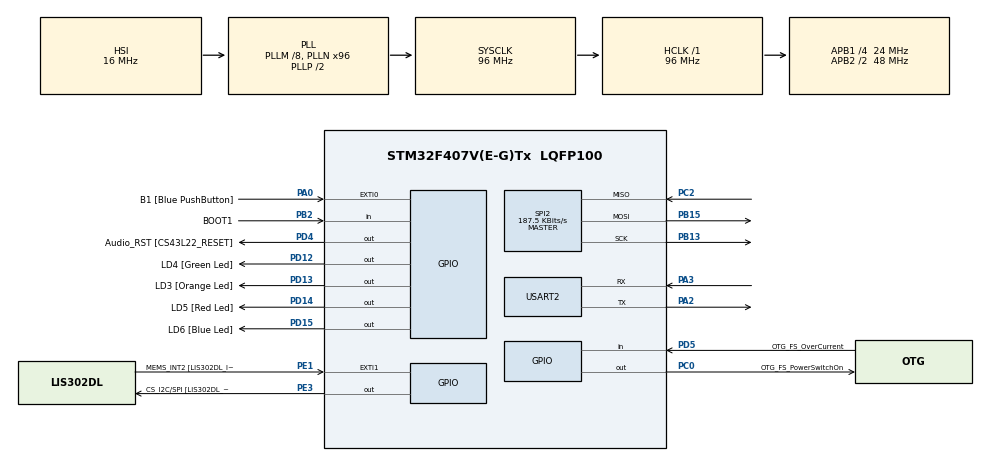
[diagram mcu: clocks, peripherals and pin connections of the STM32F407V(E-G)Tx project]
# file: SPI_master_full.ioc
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Mcu.Family=STM32F4
Mcu.Name=STM32F407V(E-G)Tx
Mcu.Package=LQFP100
NVIC.EXTI0_IRQn=true\:0\:0\:false\:false\:true\:true\:true\:true
NVIC.PriorityGroup=NVIC_PRIORITYGROUP_0
NVIC.SPI2_IRQn=true\:0\:0\:false\:false\:true\:true\:true\:true
PA0-WKUP.GPIO_Label=B1 [Blue PushButton]
PA0-WKUP.Signal=GPXTI0
PA10.GPIO_Label=OTG_FS_ID
PA10.GPIO_Mode=GPIO_MODE_AF_PP
PA10.GPIO_PuPd=GPIO_NOPULL
PA10.GPIO_Speed=GPIO_SPEED_FREQ_LOW
PA10.Signal=USB_OTG_FS_ID
PA11.GPIO_Label=OTG_FS_DM
PA11.GPIO_Mode=GPIO_MODE_AF_PP
PA11.GPIO_PuPd=GPIO_NOPULL
PA11.GPIO_Speed=GPIO_SPEED_FREQ_LOW
PA11.Signal=USB_OTG_FS_DM
PA12.GPIO_Label=OTG_FS_DP
PA12.GPIO_Mode=GPIO_MODE_AF_PP
PA12.GPIO_PuPd=GPIO_NOPULL
PA12.GPIO_Speed=GPIO_SPEED_FREQ_LOW
PA12.Signal=USB_OTG_FS_DP
PA13.GPIO_Label=SWDIO
PA13.Signal=SYS_JTMS-SWDIO
PA14.GPIO_Label=SWCLK
PA14.Signal=SYS_JTCK-SWCLK
PA2.Mode=Asynchronous
PA2.Signal=USART2_TX
PA3.Mode=Asynchronous
PA3.Signal=USART2_RX
PA4.GPIO_Label=I2S3_WS [CS43L22_LRCK]
PA4.GPIO_Mode=GPIO_MODE_AF_PP
PA4.GPIO_PuPd=GPIO_NOPULL
PA4.GPIO_Speed=GPIO_SPEED_FREQ_LOW
PA4.Signal=I2S3_WS
PA5.GPIO_Label=SPI1_SCK [LIS302DL_SCL/SPC]
PA5.GPIO_Mode=GPIO_MODE_AF_PP
PA5.GPIO_PuPd=GPIO_NOPULL
PA5.GPIO_Speed=GPIO_SPEED_FREQ_LOW
PA5.Signal=SPI1_SCK
PA6.GPIO_Label=SPI1_MISO [LIS302DL_SDO]
PA6.GPIO_Mode=GPIO_MODE_AF_PP
PA6.GPIO_PuPd=GPIO_NOPULL
PA6.GPIO_Speed=GPIO_SPEED_FREQ_LOW
PA6.Signal=SPI1_MISO
PA7.GPIO_Label=SPI1_MOSI [LIS302DL_SDA/SDI/SDO]
PA7.GPIO_Mode=GPIO_MODE_AF_PP
PA7.GPIO_PuPd=GPIO_NOPULL
PA7.GPIO_Speed=GPIO_SPEED_FREQ_LOW
PA7.Signal=SPI1_MOSI
PA9.GPIO_Label=VBUS_FS
PA9.GPIO_Mode=GPIO_MODE_INPUT
PA9.GPIO_PuPd=GPIO_NOPULL
PA9.Signal=USB_OTG_FS_VBUS
PB10.GPIO_Label=CLK_IN [MP45DT02_CLK]
PB10.GPIO_Mode=GPIO_MODE_AF_PP
PB10.GPIO_PuPd=GPIO_NOPULL
PB10.GPIO_Speed=GPIO_SPEED_FREQ_LOW
PB10.Signal=I2S2_CK
PB13.Mode=Full_Duplex_Master
PB13.Signal=SPI2_SCK
PB15.Mode=Full_Duplex_Master
PB15.Signal=SPI2_MOSI
PB2.GPIO_Label=BOOT1
PB2.GPIO_Mode=GPIO_MODE_INPUT
PB2.GPIO_PuPd=GPIO_NOPULL
PB2.Signal=GPIO_Input
PB3.GPIO_Label=SWO
PB3.Signal=SYS_JTDO-SWO
PB6.GPIO_Label=Audio_SCL [CS43L22_SCL]
PB6.GPIO_Mode=GPIO_MODE_AF_OD
PB6.GPIO_PuPd=GPIO_NOPULL
PB6.GPIO_Speed=GPIO_SPEED_FREQ_LOW
PB6.Signal=I2C1_SCL
PB9.GPIO_Label=Audio_SDA [CS43L22_SDA]
PB9.GPIO_Mode=GPIO_MODE_AF_OD
PB9.GPIO_PuPd=GPIO_NOPULL
PB9.GPIO_Speed=GPIO_SPEED_FREQ_LOW
PB9.Signal=I2C1_SDA
PC0.GPIO_Label=OTG_FS_PowerSwitchOn
PC0.GPIO_PuPd=GPIO_NOPULL
PC0.GPIO_Speed=GPIO_SPEED_FREQ_LOW
PC0.PinState=GPIO_PIN_SET
PC0.Signal=GPIO_Output
PC10.GPIO_Label=I2S3_SCK [CS43L22_SCLK]
PC10.GPIO_Mode=GPIO_MODE_AF_PP
PC10.GPIO_PuPd=GPIO_NOPULL
PC10.GPIO_Speed=GPIO_SPEED_FREQ_LOW
PC10.Signal=I2S3_CK
PC12.GPIO_Label=I2S3_SD [CS43L22_SDIN]
PC12.GPIO_Mode=GPIO_MODE_AF_PP
PC12.GPIO_PuPd=GPIO_NOPULL
PC12.GPIO_Speed=GPIO_SPEED_FREQ_LOW
PC12.Signal=I2S3_SD
PC14-OSC32_IN.GPIO_Label=PC14-OSC32_IN
PC14-OSC32_IN.Signal=RCC_OSC32_IN
PC15-OSC32_OUT.GPIO_Label=PC15-OSC32_OUT
PC15-OSC32_OUT.Signal=RCC_OSC32_OUT
PC2.Mode=Full_Duplex_Master
PC2.Signal=SPI2_MISO
PC3.GPIO_Label=PDM_OUT [MP45DT02_DOUT]
PC3.GPIO_Mode=GPIO_MODE_AF_PP
PC3.GPIO_PuPd=GPIO_NOPULL
PC3.GPIO_Speed=GPIO_SPEED_FREQ_LOW
PC3.Signal=I2S2_SD
PC7.GPIO_Label=I2S3_MCK [CS43L22_MCLK]
PC7.GPIO_Mode=GPIO_MODE_AF_PP
PC7.GPIO_PuPd=GPIO_NOPULL
PC7.GPIO_Speed=GPIO_SPEED_FREQ_LOW
PC7.Signal=I2S3_MCK
PD12.GPIO_Label=LD4 [Green Led]
PD12.GPIO_PuPd=GPIO_NOPULL
PD12.GPIO_Speed=GPIO_SPEED_FREQ_LOW
PD12.Signal=GPIO_Output
PD13.GPIO_Label=LD3 [Orange Led]
PD13.GPIO_PuPd=GPIO_NOPULL
PD13.GPIO_Speed=GPIO_SPEED_FREQ_LOW
PD13.Signal=GPIO_Output
PD14.GPIO_Label=LD5 [Red Led]
PD14.GPIO_PuPd=GPIO_NOPULL
PD14.GPIO_Speed=GPIO_SPEED_FREQ_LOW
PD14.Signal=GPIO_Output
PD15.GPIO_Label=LD6 [Blue Led]
PD15.GPIO_PuPd=GPIO_NOPULL
PD15.GPIO_Speed=GPIO_SPEED_FREQ_LOW
PD15.Signal=GPIO_Output
PD4.GPIO_Label=Audio_RST [CS43L22_RESET]
PD4.GPIO_PuPd=GPIO_NOPULL
PD4.GPIO_Speed=GPIO_SPEED_FREQ_LOW
PD4.Signal=GPIO_Output
PD5.GPIO_Label=OTG_FS_OverCurrent
PD5.GPIO_Mode=GPIO_MODE_INPUT
PD5.GPIO_PuPd=GPIO_NOPULL
PD5.Signal=GPIO_Input
PE1.GPIO_Label=MEMS_INT2 [LIS302DL_INT2]
PE1.GPIO_ModeDefaultEXTI=GPIO_MODE_EVT_RISING
PE1.GPIO_PuPd=GPIO_NOPULL
PE1.Signal=GPXTI1
PE3.GPIO_Label=CS_I2C/SPI [LIS302DL_CS_I2C/SPI]
PE3.GPIO_PuPd=GPIO_NOPULL
PE3.GPIO_Speed=GPIO_SPEED_FREQ_LOW
PE3.Signal=GPIO_Output
PH0-OSC_IN.GPIO_Label=PH0-OSC_IN
PH0-OSC_IN.Signal=RCC_OSC_IN
PH1-OSC_OUT.GPIO_Label=PH1-OSC_OUT
PH1-OSC_OUT.Signal=RCC_OSC_OUT
ProjectManager.HeapSize=0x200
ProjectManager.StackSize=0x400
ProjectManager.TargetToolchain=STM32CubeIDE
RCC.48MHZClocksFreq_Value=27428571.42857143
RCC.AHBFreq_Value=96000000
RCC.APB1CLKDivider=RCC_HCLK_DIV4
RCC.APB1Freq_Value=24000000
RCC.APB1TimFreq_Value=48000000
RCC.APB2CLKDivider=RCC_HCLK_DIV2
RCC.APB2Freq_Value=48000000
RCC.APB2TimFreq_Value=96000000
RCC.CortexFreq_Value=96000000
RCC.HCLKFreq_Value=96000000
RCC.HSE_VALUE=8000000
RCC.HSI_VALUE=16000000
RCC.LSE_VALUE=32768
RCC.PLLM=8
RCC.PLLN=96
RCC.PLLQ=7
RCC.SYSCLKFreq_VALUE=96000000
RCC.SYSCLKSource=RCC_SYSCLKSOURCE_PLLCLK
RCC.VCOOutputFreq_Value=192000000
SPI2.BaudRatePrescaler=SPI_BAUDRATEPRESCALER_128
SPI2.CalculateBaudRate=187.5 KBits/s
SPI2.Direction=SPI_DIRECTION_2LINES
SPI2.Mode=SPI_MODE_MASTER
SPI2.VirtualType=VM_MASTER
USART2.VirtualMode=VM_ASYNC
board=STM32F407G-DISC1

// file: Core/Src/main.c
/* USER CODE BEGIN Header */
/**
 ******************************************************************************
 * @file           : main.c
 * @brief          : Main program body
 ******************************************************************************
 * @attention
 *
 * Copyright (c) 2024 STMicroelectronics.
 * All rights reserved.
 *
 * This software is licensed under terms that can be found in the LICENSE file
 * in the root directory of this software component.
 * If no LICENSE file comes with this software, it is provided AS-IS.
 *
 ******************************************************************************
 */
/* USER CODE END Header */
#include "main.h"

/* USER CODE BEGIN Includes */
#include <string.h>
/* USER CODE END Includes */

SPI_HandleTypeDef hspi2;

UART_HandleTypeDef huart2;

/* USER CODE BEGIN PV */
uint8_t cmd[] = { '1', '2' };
uint8_t send_cmd = 0;

uint8_t data[8];
uint8_t new_data_in = 0;
/* USER CODE END PV */

void SystemClock_Config(void);
static void MX_GPIO_Init(void);
static void MX_USART2_UART_Init(void);
static void MX_SPI2_Init(void);

int main(void)
{
  /* USER CODE BEGIN 1 */
	// 1. Master send command when blue button is pressed.
	// 2. Slave on receive command, will turn on LED for 3 seconds.
	// - Ready to receive next command.
	// 3. Once it received a command, Slave will continuously send data to master
	// because the `send_data` flag is set to 1.
	// 4. Master will receive data and send directly to UART.
	// Q: Debouncing?
	// Q: USART affect consistency? sometimes after reset the yellow will just blink.
  /* USER CODE END 1 */

  /* MCU Configuration--------------------------------------------------------*/

  /* Reset of all peripherals, Initializes the Flash interface and the Systick. */
  HAL_Init();

  /* Configure the system clock */
  SystemClock_Config();

  /* Initialize all configured peripherals */
  MX_GPIO_Init();
  MX_USART2_UART_Init();
  MX_SPI2_Init();

  /* Infinite loop */
	while (1) {

    /* USER CODE BEGIN 3 */
		// 1. Send SPI command.
		if (send_cmd == 1) {
			// Delay 10ms for debouncing.
			HAL_Delay(10);

			// Check if the LED pin is 1.
			if (HAL_GPIO_ReadPin(GPIOA, GPIO_PIN_0) == GPIO_PIN_SET) {
				// If want to get data one a time.
				send_cmd = 0;

				// Signalling the slave that we will sync the clock.
				HAL_SPI_Transmit(&hspi2, (uint8_t*) cmd, 1,
				HAL_MAX_DELAY);

				// 2. Ready to receive SPI response.
				HAL_SPI_Receive(&hspi2, (uint8_t*) data, 1, HAL_MAX_DELAY);

				// 3. Send UART sent confirmation.
				cmd[2] = '\r';
				cmd[3] = '\n';
				HAL_UART_Transmit(&huart2, (uint8_t*) data, 4, HAL_MAX_DELAY);

				// 4. Blink blue LED.
				HAL_GPIO_WritePin(LD6_GPIO_Port, LD6_Pin, GPIO_PIN_SET);
				HAL_Delay(1000);
				HAL_GPIO_WritePin(LD6_GPIO_Port, LD6_Pin, GPIO_PIN_RESET);
				HAL_Delay(100);

			}
		}
	}
  /* USER CODE END 3 */
}

void SystemClock_Config(void)
{
  RCC_OscInitTypeDef RCC_OscInitStruct = {0};
  RCC_ClkInitTypeDef RCC_ClkInitStruct = {0};

  /** Configure the main internal regulator output voltage
  */
  __HAL_RCC_PWR_CLK_ENABLE();
  __HAL_PWR_VOLTAGESCALING_CONFIG(PWR_REGULATOR_VOLTAGE_SCALE1);

  /** Initializes the RCC Oscillators according to the specified parameters
  * in the RCC_OscInitTypeDef structure.
  */
  RCC_OscInitStruct.OscillatorType = RCC_OSCILLATORTYPE_HSI;
  RCC_OscInitStruct.HSIState = RCC_HSI_ON;
  RCC_OscInitStruct.HSICalibrationValue = RCC_HSICALIBRATION_DEFAULT;
  RCC_OscInitStruct.PLL.PLLState = RCC_PLL_ON;
  RCC_OscInitStruct.PLL.PLLSource = RCC_PLLSOURCE_HSI;
  RCC_OscInitStruct.PLL.PLLM = 8;
  RCC_OscInitStruct.PLL.PLLN = 96;
  RCC_OscInitStruct.PLL.PLLP = RCC_PLLP_DIV2;
  RCC_OscInitStruct.PLL.PLLQ = 7;
  if (HAL_RCC_OscConfig(&RCC_OscInitStruct) != HAL_OK)
  {
    Error_Handler();
  }

  /** Initializes the CPU, AHB and APB buses clocks
  */
  RCC_ClkInitStruct.ClockType = RCC_CLOCKTYPE_HCLK|RCC_CLOCKTYPE_SYSCLK
                              |RCC_CLOCKTYPE_PCLK1|RCC_CLOCKTYPE_PCLK2;
  RCC_ClkInitStruct.SYSCLKSource = RCC_SYSCLKSOURCE_PLLCLK;
  RCC_ClkInitStruct.AHBCLKDivider = RCC_SYSCLK_DIV1;
  RCC_ClkInitStruct.APB1CLKDivider = RCC_HCLK_DIV4;
  RCC_ClkInitStruct.APB2CLKDivider = RCC_HCLK_DIV2;

  if (HAL_RCC_ClockConfig(&RCC_ClkInitStruct, FLASH_LATENCY_3) != HAL_OK)
  {
    Error_Handler();
  }
}

static void MX_SPI2_Init(void)
{

  /* SPI2 parameter configuration*/
  hspi2.Instance = SPI2;
  hspi2.Init.Mode = SPI_MODE_MASTER;
  hspi2.Init.Direction = SPI_DIRECTION_2LINES;
  hspi2.Init.DataSize = SPI_DATASIZE_8BIT;
  hspi2.Init.CLKPolarity = SPI_POLARITY_LOW;
  hspi2.Init.CLKPhase = SPI_PHASE_1EDGE;
  hspi2.Init.NSS = SPI_NSS_SOFT;
  hspi2.Init.BaudRatePrescaler = SPI_BAUDRATEPRESCALER_128;
  hspi2.Init.FirstBit = SPI_FIRSTBIT_MSB;
  hspi2.Init.TIMode = SPI_TIMODE_DISABLE;
  hspi2.Init.CRCCalculation = SPI_CRCCALCULATION_DISABLE;
  hspi2.Init.CRCPolynomial = 10;
  if (HAL_SPI_Init(&hspi2) != HAL_OK)
  {
    Error_Handler();
  }

}

static void MX_USART2_UART_Init(void)
{

  huart2.Instance = USART2;
  huart2.Init.BaudRate = 115200;
  huart2.Init.WordLength = UART_WORDLENGTH_8B;
  huart2.Init.StopBits = UART_STOPBITS_1;
  huart2.Init.Parity = UART_PARITY_NONE;
  huart2.Init.Mode = UART_MODE_TX_RX;
  huart2.Init.HwFlowCtl = UART_HWCONTROL_NONE;
  huart2.Init.OverSampling = UART_OVERSAMPLING_16;
  if (HAL_UART_Init(&huart2) != HAL_OK)
  {
    Error_Handler();
  }

}

static void MX_GPIO_Init(void)
{
  GPIO_InitTypeDef GPIO_InitStruct = {0};

  /* GPIO Ports Clock Enable */
  __HAL_RCC_GPIOE_CLK_ENABLE();
  __HAL_RCC_GPIOC_CLK_ENABLE();
  __HAL_RCC_GPIOH_CLK_ENABLE();
  __HAL_RCC_GPIOA_CLK_ENABLE();
  __HAL_RCC_GPIOB_CLK_ENABLE();
  __HAL_RCC_GPIOD_CLK_ENABLE();

  /*Configure GPIO pin Output Level */
  HAL_GPIO_WritePin(CS_I2C_SPI_GPIO_Port, CS_I2C_SPI_Pin, GPIO_PIN_RESET);

  /*Configure GPIO pin Output Level */
  HAL_GPIO_WritePin(OTG_FS_PowerSwitchOn_GPIO_Port, OTG_FS_PowerSwitchOn_Pin, GPIO_PIN_SET);

  /*Configure GPIO pin Output Level */
  HAL_GPIO_WritePin(GPIOD, LD4_Pin|LD3_Pin|LD5_Pin|LD6_Pin
                          |Audio_RST_Pin, GPIO_PIN_RESET);

  /*Configure GPIO pin : CS_I2C_SPI_Pin */
  GPIO_InitStruct.Pin = CS_I2C_SPI_Pin;
  GPIO_InitStruct.Mode = GPIO_MODE_OUTPUT_PP;
  GPIO_InitStruct.Pull = GPIO_NOPULL;
  GPIO_InitStruct.Speed = GPIO_SPEED_FREQ_LOW;
  HAL_GPIO_Init(CS_I2C_SPI_GPIO_Port, &GPIO_InitStruct);

  /*Configure GPIO pin : OTG_FS_PowerSwitchOn_Pin */
  GPIO_InitStruct.Pin = OTG_FS_PowerSwitchOn_Pin;
  GPIO_InitStruct.Mode = GPIO_MODE_OUTPUT_PP;
  GPIO_InitStruct.Pull = GPIO_NOPULL;
  GPIO_InitStruct.Speed = GPIO_SPEED_FREQ_LOW;
  HAL_GPIO_Init(OTG_FS_PowerSwitchOn_GPIO_Port, &GPIO_InitStruct);

  /*Configure GPIO pin : PDM_OUT_Pin */
  GPIO_InitStruct.Pin = PDM_OUT_Pin;
  GPIO_InitStruct.Mode = GPIO_MODE_AF_PP;
  GPIO_InitStruct.Pull = GPIO_NOPULL;
  GPIO_InitStruct.Speed = GPIO_SPEED_FREQ_LOW;
  GPIO_InitStruct.Alternate = GPIO_AF5_SPI2;
  HAL_GPIO_Init(PDM_OUT_GPIO_Port, &GPIO_InitStruct);

  /*Configure GPIO pin : B1_Pin */
  GPIO_InitStruct.Pin = B1_Pin;
  GPIO_InitStruct.Mode = GPIO_MODE_IT_RISING;
  GPIO_InitStruct.Pull = GPIO_NOPULL;
  HAL_GPIO_Init(B1_GPIO_Port, &GPIO_InitStruct);

  /*Configure GPIO pin : I2S3_WS_Pin */
  GPIO_InitStruct.Pin = I2S3_WS_Pin;
  GPIO_InitStruct.Mode = GPIO_MODE_AF_PP;
  GPIO_InitStruct.Pull = GPIO_NOPULL;
  GPIO_InitStruct.Speed = GPIO_SPEED_FREQ_LOW;
  GPIO_InitStruct.Alternate = GPIO_AF6_SPI3;
  HAL_GPIO_Init(I2S3_WS_GPIO_Port, &GPIO_InitStruct);

  /*Configure GPIO pins : SPI1_SCK_Pin SPI1_MISO_Pin SPI1_MOSI_Pin */
  GPIO_InitStruct.Pin = SPI1_SCK_Pin|SPI1_MISO_Pin|SPI1_MOSI_Pin;
  GPIO_InitStruct.Mode = GPIO_MODE_AF_PP;
  GPIO_InitStruct.Pull = GPIO_NOPULL;
  GPIO_InitStruct.Speed = GPIO_SPEED_FREQ_LOW;
  GPIO_InitStruct.Alternate = GPIO_AF5_SPI1;
  HAL_GPIO_Init(GPIOA, &GPIO_InitStruct);

  /*Configure GPIO pin : BOOT1_Pin */
  GPIO_InitStruct.Pin = BOOT1_Pin;
  GPIO_InitStruct.Mode = GPIO_MODE_INPUT;
  GPIO_InitStruct.Pull = GPIO_NOPULL;
  HAL_GPIO_Init(BOOT1_GPIO_Port, &GPIO_InitStruct);

  /*Configure GPIO pin : CLK_IN_Pin */
  GPIO_InitStruct.Pin = CLK_IN_Pin;
  GPIO_InitStruct.Mode = GPIO_MODE_AF_PP;
  GPIO_InitStruct.Pull = GPIO_NOPULL;
  GPIO_InitStruct.Speed = GPIO_SPEED_FREQ_LOW;
  GPIO_InitStruct.Alternate = GPIO_AF5_SPI2;
  HAL_GPIO_Init(CLK_IN_GPIO_Port, &GPIO_InitStruct);

  /*Configure GPIO pins : LD4_Pin LD3_Pin LD5_Pin LD6_Pin
                           Audio_RST_Pin */
  GPIO_InitStruct.Pin = LD4_Pin|LD3_Pin|LD5_Pin|LD6_Pin
                          |Audio_RST_Pin;
  GPIO_InitStruct.Mode = GPIO_MODE_OUTPUT_PP;
  GPIO_InitStruct.Pull = GPIO_NOPULL;
  GPIO_InitStruct.Speed = GPIO_SPEED_FREQ_LOW;
  HAL_GPIO_Init(GPIOD, &GPIO_InitStruct);

  /*Configure GPIO pins : I2S3_MCK_Pin I2S3_SCK_Pin I2S3_SD_Pin */
  GPIO_InitStruct.Pin = I2S3_MCK_Pin|I2S3_SCK_Pin|I2S3_SD_Pin;
  GPIO_InitStruct.Mode = GPIO_MODE_AF_PP;
  GPIO_InitStruct.Pull = GPIO_NOPULL;
  GPIO_InitStruct.Speed = GPIO_SPEED_FREQ_LOW;
  GPIO_InitStruct.Alternate = GPIO_AF6_SPI3;
  HAL_GPIO_Init(GPIOC, &GPIO_InitStruct);

  /*Configure GPIO pin : VBUS_FS_Pin */
  GPIO_InitStruct.Pin = VBUS_FS_Pin;
  GPIO_InitStruct.Mode = GPIO_MODE_INPUT;
  GPIO_InitStruct.Pull = GPIO_NOPULL;
  HAL_GPIO_Init(VBUS_FS_GPIO_Port, &GPIO_InitStruct);

  /*Configure GPIO pins : OTG_FS_ID_Pin OTG_FS_DM_Pin OTG_FS_DP_Pin */
  GPIO_InitStruct.Pin = OTG_FS_ID_Pin|OTG_FS_DM_Pin|OTG_FS_DP_Pin;
  GPIO_InitStruct.Mode = GPIO_MODE_AF_PP;
  GPIO_InitStruct.Pull = GPIO_NOPULL;
  GPIO_InitStruct.Speed = GPIO_SPEED_FREQ_LOW;
  GPIO_InitStruct.Alternate = GPIO_AF10_OTG_FS;
  HAL_GPIO_Init(GPIOA, &GPIO_InitStruct);

  /*Configure GPIO pin : OTG_FS_OverCurrent_Pin */
  GPIO_InitStruct.Pin = OTG_FS_OverCurrent_Pin;
  GPIO_InitStruct.Mode = GPIO_MODE_INPUT;
  GPIO_InitStruct.Pull = GPIO_NOPULL;
  HAL_GPIO_Init(OTG_FS_OverCurrent_GPIO_Port, &GPIO_InitStruct);

  /*Configure GPIO pins : Audio_SCL_Pin Audio_SDA_Pin */
  GPIO_InitStruct.Pin = Audio_SCL_Pin|Audio_SDA_Pin;
  GPIO_InitStruct.Mode = GPIO_MODE_AF_OD;
  GPIO_InitStruct.Pull = GPIO_NOPULL;
  GPIO_InitStruct.Speed = GPIO_SPEED_FREQ_LOW;
  GPIO_InitStruct.Alternate = GPIO_AF4_I2C1;
  HAL_GPIO_Init(GPIOB, &GPIO_InitStruct);

  /*Configure GPIO pin : MEMS_INT2_Pin */
  GPIO_InitStruct.Pin = MEMS_INT2_Pin;
  GPIO_InitStruct.Mode = GPIO_MODE_EVT_RISING;
  GPIO_InitStruct.Pull = GPIO_NOPULL;
  HAL_GPIO_Init(MEMS_INT2_GPIO_Port, &GPIO_InitStruct);

  /* EXTI interrupt init*/
  HAL_NVIC_SetPriority(EXTI0_IRQn, 0, 0);
  HAL_NVIC_EnableIRQ(EXTI0_IRQn);

}

/* USER CODE BEGIN 4 */
void HAL_GPIO_EXTI_Callback(uint16_t GPIO_Pin) {
	if (GPIO_Pin == GPIO_PIN_0) {
		// Send command when Button is pressed.
		send_cmd = 1;
	}
}

/* USER CODE END 4 */

void Error_Handler(void)
{
	__disable_irq();
	while (1) {
	}
}
